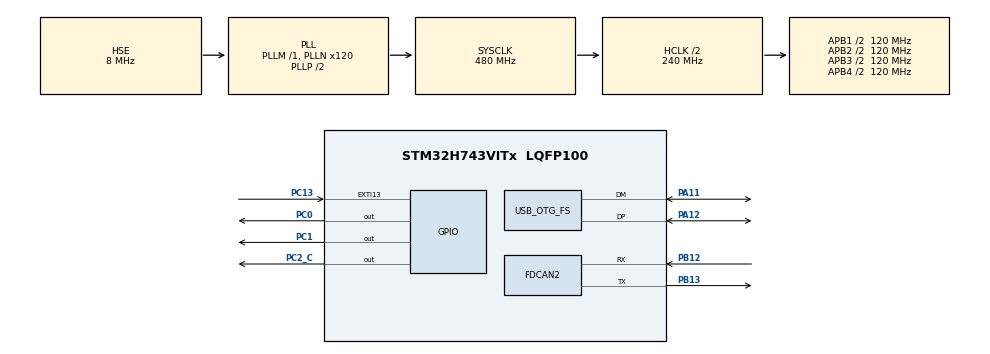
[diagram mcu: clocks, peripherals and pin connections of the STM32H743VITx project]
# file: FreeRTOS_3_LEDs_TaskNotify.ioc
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FDCAN2.CalculateBaudRateNominal=800000
FDCAN2.CalculateTimeBitNominal=1250
FDCAN2.CalculateTimeQuantumNominal=250.0
Mcu.Family=STM32H7
Mcu.Name=STM32H743VITx
Mcu.Package=LQFP100
NVIC.EXTI15_10_IRQn=true\:5\:0\:true\:false\:true\:true\:true\:true
NVIC.FDCAN2_IT0_IRQn=true\:0\:0\:false\:false\:true\:true\:true\:true
NVIC.FDCAN2_IT1_IRQn=true\:0\:0\:false\:false\:true\:true\:true\:true
NVIC.PriorityGroup=NVIC_PRIORITYGROUP_4
NVIC.TIM6_DAC_IRQn=true\:15\:0\:false\:false\:true\:false\:true\:true
NVIC.TimeBase=TIM6_DAC_IRQn
NVIC.TimeBaseIP=TIM6
PA11.Mode=Host_Only
PA11.Signal=USB_OTG_FS_DM
PA12.Mode=Host_Only
PA12.Signal=USB_OTG_FS_DP
PA13\ (JTMS/SWDIO).Mode=Trace_Asynchronous_SW
PA13\ (JTMS/SWDIO).Signal=DEBUG_JTMS-SWDIO
PA14\ (JTCK/SWCLK).Mode=Trace_Asynchronous_SW
PA14\ (JTCK/SWCLK).Signal=DEBUG_JTCK-SWCLK
PB12.Mode=FDCAN_Activate
PB12.Signal=FDCAN2_RX
PB13.Mode=FDCAN_Activate
PB13.Signal=FDCAN2_TX
PB3\ (JTDO/TRACESWO).Mode=Trace_Asynchronous_SW
PB3\ (JTDO/TRACESWO).Signal=DEBUG_JTDO-SWO
PC0.Signal=GPIO_Output
PC1.Signal=GPIO_Output
PC13.GPIO_ModeDefaultEXTI=GPIO_MODE_IT_RISING
PC13.GPIO_PuPd=GPIO_NOPULL
PC13.Signal=GPXTI13
PC2_C.Signal=GPIO_Output
PH0-OSC_IN\ (PH0).Mode=HSE-External-Oscillator
PH0-OSC_IN\ (PH0).Signal=RCC_OSC_IN
PH1-OSC_OUT\ (PH1).Mode=HSE-External-Oscillator
PH1-OSC_OUT\ (PH1).Signal=RCC_OSC_OUT
ProjectManager.HeapSize=0x200
ProjectManager.StackSize=0x400
ProjectManager.TargetToolchain=STM32CubeIDE
RCC.ADCFreq_Value=16125000
RCC.APB1Freq_Value=120000000
RCC.APB2Freq_Value=120000000
RCC.APB3Freq_Value=120000000
RCC.APB4Freq_Value=120000000
RCC.CortexFreq_Value=480000000
RCC.D1PPRE=RCC_APB3_DIV2
RCC.D2PPRE1=RCC_APB1_DIV2
RCC.D2PPRE2=RCC_APB2_DIV2
RCC.D3PPRE=RCC_APB4_DIV2
RCC.DIVM1=1
RCC.DIVN1=120
RCC.DIVQ1=15
RCC.HCLKFreq_Value=240000000
RCC.HPRE=RCC_HCLK_DIV2
RCC.HSE_VALUE=8000000
RCC.PLL1_VCI_Range-AdvancedSettings=RCC_PLL1VCIRANGE_0
RCC.PLL2FRACN=0
RCC.PLL2_VCI_Range-AdvancedSettings=RCC_PLL2VCIRANGE_0
RCC.PLL2_VCO_SEL-AdvancedSettings=RCC_PLL2VCOMEDIUM
RCC.PLL3FRACN=0
RCC.PLL3_VCI_Range-AdvancedSettings=RCC_PLL3VCIRANGE_0
RCC.PLL3_VCO_SEL-AdvancedSettings=RCC_PLL3VCOMEDIUM
RCC.PLLFRACN=0
RCC.PLLSourceVirtual=RCC_PLLSOURCE_HSE
RCC.SYSCLKFreq_VALUE=480000000
RCC.SYSCLKSource=RCC_SYSCLKSOURCE_PLLCLK
RCC.USBFreq_Value=64000000
USB_OTG_FS.VirtualMode=Host_Only
USB_OTG_FS.phy_itface=HCD_PHY_EMBEDDED
VP_SYS_VS_tim6.Mode=TIM6
board=custom

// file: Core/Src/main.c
/* USER CODE BEGIN Header */
/**
  ******************************************************************************
  * @file           : main.c
  * @brief          : Main program body
  ******************************************************************************
  * @attention
  *
  * Copyright (c) 2021 STMicroelectronics.
  * All rights reserved.
  *
  * This software is licensed under terms that can be found in the LICENSE file
  * in the root directory of this software component.
  * If no LICENSE file comes with this software, it is provided AS-IS.
  *
  ******************************************************************************
  */
/* USER CODE END Header */
#include "main.h"

FDCAN_HandleTypeDef hfdcan2;

HCD_HandleTypeDef hhcd_USB_OTG_FS;

void SystemClock_Config(void);
static void MX_GPIO_Init(void);
static void MX_FDCAN2_Init(void);
static void MX_USB_OTG_FS_HCD_Init(void);
/* USER CODE BEGIN PFP */
extern void SEGGER_UART_init(U32 baud);
static void Task_GreenLED_Handler(void* parameters);
static void Task_RedLED_Handler(void* parameters);
static void Task_BlueLED_Handler(void* parameters);
static void Task_Button_Handler(void* parameters);
/* USER CODE END PFP */

/* USER CODE BEGIN 0 */
char *user_data = "Hello world\r\n";
TaskHandle_t Task_GreenLED_Handle;
TaskHandle_t Task_RedLED_Handle;
TaskHandle_t Task_BlueLED_Handle;
TaskHandle_t Task_Button_Handle;
TaskHandle_t volatile Next_Task_Handle = NULL;

/* USER CODE END 0 */

int main(void)
{
  /* USER CODE BEGIN 1 */

	BaseType_t TaskStatus;

  /* USER CODE END 1 */

  /* MCU Configuration--------------------------------------------------------*/

  /* Reset of all peripherals, Initializes the Flash interface and the Systick. */
  HAL_Init();

  /* Configure the system clock */
  SystemClock_Config();

  /* Initialize all configured peripherals */
  MX_GPIO_Init();
  MX_FDCAN2_Init();
  MX_USB_OTG_FS_HCD_Init();
  /* USER CODE BEGIN 2 */
//	user_data = "Start of program\r\n";
//	HAL_UART_Transmit(&huart2,(uint8_t*)user_data,strlen(user_data), HAL_MAX_DELAY);

	// Enable CCYCCNT Counter
	DWT->CTRL |= (1 << 0);

	// Used for SEGGER UART
	SEGGER_UART_init(500000);

	//Starting SEGGER SYSVIEW
	  SEGGER_SYSVIEW_Conf();
	  //SEGGER_SYSVIEW_Start();

	  TaskStatus = xTaskCreate(Task_GreenLED_Handler, "GreenLED", 100, "Green LED TASK", 1, &Task_GreenLED_Handle);
	  configASSERT(TaskStatus == pdPASS);

	  Next_Task_Handle = Task_GreenLED_Handle;

	  TaskStatus = xTaskCreate(Task_RedLED_Handler, "RedLED", 100, "Red LED TASK", 1, &Task_RedLED_Handle);
	  configASSERT(TaskStatus == pdPASS);

	  TaskStatus = xTaskCreate(Task_BlueLED_Handler, "BlueLED", 100, "Blue LED TASK", 1, &Task_BlueLED_Handle);
	  configASSERT(TaskStatus == pdPASS);

	  TaskStatus = xTaskCreate(Task_Button_Handler, "Button", 100, "Button TASK", 4, &Task_Button_Handle);
	  configASSERT(TaskStatus == pdPASS);

	  // Start FreeRTOS scheduler
	  vTaskStartScheduler();
//
//		user_data = "Scheduler called \r\n";
//		HAL_UART_Transmit(&huart2,(uint8_t*)user_data,strlen(user_data), HAL_MAX_DELAY);

  /* USER CODE END 2 */

  /* Infinite loop */
  while (1)
  {

  }
}

void SystemClock_Config(void)
{
  RCC_OscInitTypeDef RCC_OscInitStruct = {0};
  RCC_ClkInitTypeDef RCC_ClkInitStruct = {0};

  /** Supply configuration update enable
  */
  HAL_PWREx_ConfigSupply(PWR_LDO_SUPPLY);

  /** Configure the main internal regulator output voltage
  */
  __HAL_PWR_VOLTAGESCALING_CONFIG(PWR_REGULATOR_VOLTAGE_SCALE1);

  while(!__HAL_PWR_GET_FLAG(PWR_FLAG_VOSRDY)) {}

  __HAL_RCC_SYSCFG_CLK_ENABLE();
  __HAL_PWR_VOLTAGESCALING_CONFIG(PWR_REGULATOR_VOLTAGE_SCALE0);

  while(!__HAL_PWR_GET_FLAG(PWR_FLAG_VOSRDY)) {}

  /** Initializes the RCC Oscillators according to the specified parameters
  * in the RCC_OscInitTypeDef structure.
  */
  RCC_OscInitStruct.OscillatorType = RCC_OSCILLATORTYPE_HSE;
  RCC_OscInitStruct.HSEState = RCC_HSE_ON;
  RCC_OscInitStruct.PLL.PLLState = RCC_PLL_ON;
  RCC_OscInitStruct.PLL.PLLSource = RCC_PLLSOURCE_HSE;
  RCC_OscInitStruct.PLL.PLLM = 1;
  RCC_OscInitStruct.PLL.PLLN = 120;
  RCC_OscInitStruct.PLL.PLLP = 2;
  RCC_OscInitStruct.PLL.PLLQ = 15;
  RCC_OscInitStruct.PLL.PLLR = 2;
  RCC_OscInitStruct.PLL.PLLRGE = RCC_PLL1VCIRANGE_3;
  RCC_OscInitStruct.PLL.PLLVCOSEL = RCC_PLL1VCOWIDE;
  RCC_OscInitStruct.PLL.PLLFRACN = 0;
  if (HAL_RCC_OscConfig(&RCC_OscInitStruct) != HAL_OK)
  {
    Error_Handler();
  }

  /** Initializes the CPU, AHB and APB buses clocks
  */
  RCC_ClkInitStruct.ClockType = RCC_CLOCKTYPE_HCLK|RCC_CLOCKTYPE_SYSCLK
                              |RCC_CLOCKTYPE_PCLK1|RCC_CLOCKTYPE_PCLK2
                              |RCC_CLOCKTYPE_D3PCLK1|RCC_CLOCKTYPE_D1PCLK1;
  RCC_ClkInitStruct.SYSCLKSource = RCC_SYSCLKSOURCE_PLLCLK;
  RCC_ClkInitStruct.SYSCLKDivider = RCC_SYSCLK_DIV1;
  RCC_ClkInitStruct.AHBCLKDivider = RCC_HCLK_DIV2;
  RCC_ClkInitStruct.APB3CLKDivider = RCC_APB3_DIV2;
  RCC_ClkInitStruct.APB1CLKDivider = RCC_APB1_DIV2;
  RCC_ClkInitStruct.APB2CLKDivider = RCC_APB2_DIV2;
  RCC_ClkInitStruct.APB4CLKDivider = RCC_APB4_DIV2;

  if (HAL_RCC_ClockConfig(&RCC_ClkInitStruct, FLASH_LATENCY_4) != HAL_OK)
  {
    Error_Handler();
  }
}

static void MX_FDCAN2_Init(void)
{

  hfdcan2.Instance = FDCAN2;
  hfdcan2.Init.FrameFormat = FDCAN_FRAME_CLASSIC;
  hfdcan2.Init.Mode = FDCAN_MODE_NORMAL;
  hfdcan2.Init.AutoRetransmission = DISABLE;
  hfdcan2.Init.TransmitPause = DISABLE;
  hfdcan2.Init.ProtocolException = DISABLE;
  hfdcan2.Init.NominalPrescaler = 16;
  hfdcan2.Init.NominalSyncJumpWidth = 1;
  hfdcan2.Init.NominalTimeSeg1 = 2;
  hfdcan2.Init.NominalTimeSeg2 = 2;
  hfdcan2.Init.DataPrescaler = 1;
  hfdcan2.Init.DataSyncJumpWidth = 1;
  hfdcan2.Init.DataTimeSeg1 = 1;
  hfdcan2.Init.DataTimeSeg2 = 1;
  hfdcan2.Init.MessageRAMOffset = 0;
  hfdcan2.Init.StdFiltersNbr = 0;
  hfdcan2.Init.ExtFiltersNbr = 0;
  hfdcan2.Init.RxFifo0ElmtsNbr = 0;
  hfdcan2.Init.RxFifo0ElmtSize = FDCAN_DATA_BYTES_8;
  hfdcan2.Init.RxFifo1ElmtsNbr = 0;
  hfdcan2.Init.RxFifo1ElmtSize = FDCAN_DATA_BYTES_8;
  hfdcan2.Init.RxBuffersNbr = 0;
  hfdcan2.Init.RxBufferSize = FDCAN_DATA_BYTES_8;
  hfdcan2.Init.TxEventsNbr = 0;
  hfdcan2.Init.TxBuffersNbr = 0;
  hfdcan2.Init.TxFifoQueueElmtsNbr = 0;
  hfdcan2.Init.TxFifoQueueMode = FDCAN_TX_FIFO_OPERATION;
  hfdcan2.Init.TxElmtSize = FDCAN_DATA_BYTES_8;
  if (HAL_FDCAN_Init(&hfdcan2) != HAL_OK)
  {
    Error_Handler();
  }

}

static void MX_USB_OTG_FS_HCD_Init(void)
{

  hhcd_USB_OTG_FS.Instance = USB_OTG_FS;
  hhcd_USB_OTG_FS.Init.Host_channels = 16;
  hhcd_USB_OTG_FS.Init.speed = HCD_SPEED_FULL;
  hhcd_USB_OTG_FS.Init.dma_enable = DISABLE;
  hhcd_USB_OTG_FS.Init.phy_itface = HCD_PHY_EMBEDDED;
  hhcd_USB_OTG_FS.Init.Sof_enable = DISABLE;
  if (HAL_HCD_Init(&hhcd_USB_OTG_FS) != HAL_OK)
  {
    Error_Handler();
  }

}

static void MX_GPIO_Init(void)
{
  GPIO_InitTypeDef GPIO_InitStruct = {0};

  /* GPIO Ports Clock Enable */
  __HAL_RCC_GPIOC_CLK_ENABLE();
  __HAL_RCC_GPIOH_CLK_ENABLE();
  __HAL_RCC_GPIOB_CLK_ENABLE();
  __HAL_RCC_GPIOA_CLK_ENABLE();

  /*Configure GPIO pin Output Level */
  HAL_GPIO_WritePin(GPIOC, GPIO_PIN_0|GPIO_PIN_1|GPIO_PIN_2, GPIO_PIN_RESET);

  /*Configure GPIO pin : PC13 */
  GPIO_InitStruct.Pin = GPIO_PIN_13;
  GPIO_InitStruct.Mode = GPIO_MODE_IT_RISING;
  GPIO_InitStruct.Pull = GPIO_NOPULL;
  HAL_GPIO_Init(GPIOC, &GPIO_InitStruct);

  /*Configure GPIO pins : PC0 PC1 PC2 */
  GPIO_InitStruct.Pin = GPIO_PIN_0|GPIO_PIN_1|GPIO_PIN_2;
  GPIO_InitStruct.Mode = GPIO_MODE_OUTPUT_PP;
  GPIO_InitStruct.Pull = GPIO_NOPULL;
  GPIO_InitStruct.Speed = GPIO_SPEED_FREQ_LOW;
  HAL_GPIO_Init(GPIOC, &GPIO_InitStruct);

  /* EXTI interrupt init*/
  HAL_NVIC_SetPriority(EXTI15_10_IRQn, 5, 0);
  HAL_NVIC_EnableIRQ(EXTI15_10_IRQn);

}

/* USER CODE BEGIN 4 */
static void Task_GreenLED_Handler(void* parameters)
{
	TickType_t LastWakeUpTime = xTaskGetTickCount();
	BaseType_t NotificationStatus;

	while(1)
	{
//		user_data = "Green -\r\n";
//		HAL_UART_Transmit(&huart2,(uint8_t*)user_data,strlen(user_data), HAL_MAX_DELAY);
//		printf("%s\n", (char*)parameters);

		SEGGER_SYSVIEW_PrintfTarget("Toggling Green LED");

		// 1000 system tickes -> needs to be converted to ms
		HAL_GPIO_TogglePin(GPIOC, LED_Green_PIN);
		vTaskDelayUntil(&LastWakeUpTime, pdMS_TO_TICKS(1000));
		HAL_GPIO_TogglePin(GPIOC, LED_Green_PIN);
		vTaskDelayUntil(&LastWakeUpTime, pdMS_TO_TICKS(1000));
		NotificationStatus =xTaskNotifyWait(0, 0, NULL, pdMS_TO_TICKS(1000));
		if(NotificationStatus == pdTRUE)
		{
			vTaskSuspendAll();
			Next_Task_Handle = Task_RedLED_Handle;
			xTaskResumeAll();
			HAL_GPIO_WritePin(GPIOC, LED_Green_PIN, GPIO_PIN_SET);
			vTaskDelete(NULL);
		}
	}
}

static void Task_RedLED_Handler(void* parameters)
{
	TickType_t LastWakeUpTime = xTaskGetTickCount();
	BaseType_t NotificationStatus;

	while(1)
	{
//		user_data = "Red -\r\n";
//		HAL_UART_Transmit(&huart2,(uint8_t*)user_data,strlen(user_data), HAL_MAX_DELAY);
//		printf("%s\n", (char*)parameters);

		SEGGER_SYSVIEW_PrintfTarget("Toggling Red LED");

		// 800 system tickes -> needs to be converted to ms
		HAL_GPIO_TogglePin(GPIOC, LED_Red_PIN);
		vTaskDelayUntil(&LastWakeUpTime, pdMS_TO_TICKS(800));
		HAL_GPIO_TogglePin(GPIOC, LED_Red_PIN);
		vTaskDelayUntil(&LastWakeUpTime, pdMS_TO_TICKS(800));
		NotificationStatus =xTaskNotifyWait(0, 0, NULL, pdMS_TO_TICKS(800));
		if(NotificationStatus == pdTRUE)
		{
			vTaskSuspendAll();
			Next_Task_Handle = Task_BlueLED_Handle;
			xTaskResumeAll();
			HAL_GPIO_WritePin(GPIOC, LED_Red_PIN, GPIO_PIN_SET);
			vTaskDelete(NULL);
		}
	}
}

static void Task_BlueLED_Handler(void* parameters)
{
	TickType_t LastWakeUpTime = xTaskGetTickCount();
	BaseType_t NotificationStatus;

	while(1)
	{
//		user_data = "Blue -\r\n";
//		HAL_UART_Transmit(&huart2,(uint8_t*)user_data,strlen(user_data), HAL_MAX_DELAY);
//		printf("%s\n", (char*)parameters);

		SEGGER_SYSVIEW_PrintfTarget("Toggling Blue LED");

		// 400 system tickes -> needs to be converted to ms
		HAL_GPIO_TogglePin(GPIOC, LED_Blue_PIN);
		vTaskDelayUntil(&LastWakeUpTime, pdMS_TO_TICKS(400));
		HAL_GPIO_TogglePin(GPIOC, LED_Blue_PIN);
		vTaskDelayUntil(&LastWakeUpTime, pdMS_TO_TICKS(400));
		NotificationStatus =xTaskNotifyWait(0, 0, NULL, pdMS_TO_TICKS(400));
		if(NotificationStatus == pdTRUE)
		{
			vTaskSuspendAll();
			Next_Task_Handle = NULL;
			xTaskResumeAll();
			HAL_GPIO_WritePin(GPIOC, LED_Blue_PIN, GPIO_PIN_SET);
			vTaskDelete(Task_Button_Handle);
			vTaskDelete(NULL);
		}
	}
}

static void Task_Button_Handler(void* parameters)
{
	uint8_t Button_Read = 0;
	uint8_t prev_Read = 0;

	while(1)
	{
		Button_Read = HAL_GPIO_ReadPin(GPIOC, GPIO_PIN_13);

		if(Button_Read)
		{
			if (! prev_Read)
				xTaskNotify(Next_Task_Handle, 0, eNoAction);
		}
		prev_Read = Button_Read;
		vTaskDelay(pdMS_TO_TICKS(10));
	}
}

/* USER CODE END 4 */

void HAL_TIM_PeriodElapsedCallback(TIM_HandleTypeDef *htim)
{
  if (htim->Instance == TIM6) {
    HAL_IncTick();
  }
}

void Error_Handler(void)
{
  __disable_irq();
  while (1)
  {
  }
}
